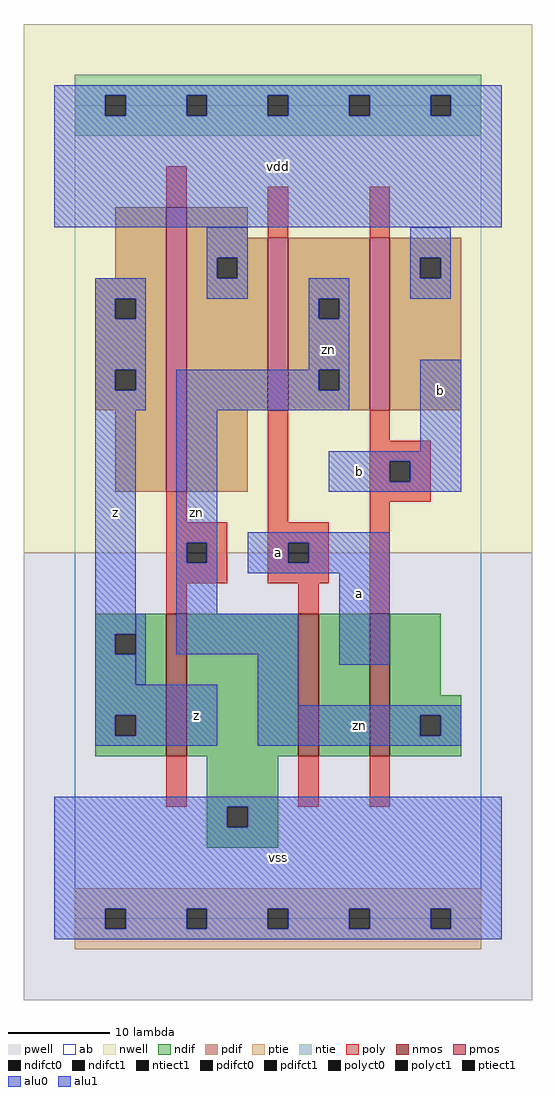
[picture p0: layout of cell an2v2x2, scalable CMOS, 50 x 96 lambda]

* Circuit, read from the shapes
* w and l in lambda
.subckt an2v2x2 a b vdd vss z zn
M1 vss zn z vss nfet w=14 l=2
M2 n1 a vss vss nfet w=14 l=2
M3 zn b n1 vss nfet w=14 l=2
M4 vdd zn z vdd pfet w=28 l=2
M5 zn a vdd vdd pfet w=17 l=2
M6 vdd b zn vdd pfet w=17 l=2
.ends

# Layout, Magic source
magic
tech scmos
<< ab >>
rect 0 0 40 80
<< nwell >>
rect -5 36 45 88
<< pwell >>
rect -5 -8 45 36
<< poly >>
rect 9 70 11 74
rect 19 67 21 72
rect 29 67 31 72
rect 9 39 11 42
rect 19 39 21 50
rect 29 47 31 50
rect 29 45 35 47
rect 29 43 31 45
rect 33 43 35 45
rect 29 41 35 43
rect 9 37 15 39
rect 9 35 11 37
rect 13 35 15 37
rect 9 33 15 35
rect 19 37 25 39
rect 19 35 21 37
rect 23 35 25 37
rect 19 33 25 35
rect 9 30 11 33
rect 22 30 24 33
rect 29 30 31 41
rect 9 11 11 16
rect 22 11 24 16
rect 29 11 31 16
<< ndif >>
rect 2 28 9 30
rect 2 26 4 28
rect 6 26 9 28
rect 2 20 9 26
rect 2 18 4 20
rect 6 18 9 20
rect 2 16 9 18
rect 11 16 22 30
rect 24 16 29 30
rect 31 22 36 30
rect 31 20 38 22
rect 31 18 34 20
rect 36 18 38 20
rect 31 16 38 18
rect 13 11 20 16
rect 13 9 15 11
rect 17 9 20 11
rect 13 7 20 9
<< pdif >>
rect 4 63 9 70
rect 2 61 9 63
rect 2 59 4 61
rect 6 59 9 61
rect 2 54 9 59
rect 2 52 4 54
rect 6 52 9 54
rect 2 50 9 52
rect 4 42 9 50
rect 11 67 17 70
rect 11 65 19 67
rect 11 63 14 65
rect 16 63 19 65
rect 11 50 19 63
rect 21 61 29 67
rect 21 59 24 61
rect 26 59 29 61
rect 21 54 29 59
rect 21 52 24 54
rect 26 52 29 54
rect 21 50 29 52
rect 31 65 38 67
rect 31 63 34 65
rect 36 63 38 65
rect 31 50 38 63
rect 11 42 17 50
<< alu1 >>
rect -2 81 42 82
rect -2 79 3 81
rect 5 79 11 81
rect 13 79 19 81
rect 21 79 27 81
rect 29 79 35 81
rect 37 79 42 81
rect -2 68 42 79
rect 2 61 7 63
rect 2 59 4 61
rect 6 59 7 61
rect 2 54 7 59
rect 2 52 4 54
rect 6 52 7 54
rect 2 50 7 52
rect 2 28 6 50
rect 34 46 38 55
rect 25 45 38 46
rect 25 43 31 45
rect 33 43 38 45
rect 25 42 38 43
rect 17 37 31 38
rect 17 35 21 37
rect 23 35 31 37
rect 17 34 31 35
rect 2 26 4 28
rect 2 23 6 26
rect 2 20 14 23
rect 2 18 4 20
rect 6 18 14 20
rect 2 17 14 18
rect 26 25 31 34
rect -2 11 42 12
rect -2 9 15 11
rect 17 9 42 11
rect -2 1 42 9
rect -2 -1 3 1
rect 5 -1 11 1
rect 13 -1 19 1
rect 21 -1 27 1
rect 29 -1 35 1
rect 37 -1 42 1
rect -2 -2 42 -1
<< ptie >>
rect 0 1 40 3
rect 0 -1 3 1
rect 5 -1 11 1
rect 13 -1 19 1
rect 21 -1 27 1
rect 29 -1 35 1
rect 37 -1 40 1
rect 0 -3 40 -1
<< ntie >>
rect 0 81 40 83
rect 0 79 3 81
rect 5 79 11 81
rect 13 79 19 81
rect 21 79 27 81
rect 29 79 35 81
rect 37 79 40 81
rect 0 77 40 79
<< nmos >>
rect 9 16 11 30
rect 22 16 24 30
rect 29 16 31 30
<< pmos >>
rect 9 42 11 70
rect 19 50 21 67
rect 29 50 31 67
<< polyct0 >>
rect 11 35 13 37
<< polyct1 >>
rect 31 43 33 45
rect 21 35 23 37
<< ndifct0 >>
rect 34 18 36 20
<< ndifct1 >>
rect 4 26 6 28
rect 4 18 6 20
rect 15 9 17 11
<< ntiect1 >>
rect 3 79 5 81
rect 11 79 13 81
rect 19 79 21 81
rect 27 79 29 81
rect 35 79 37 81
<< ptiect1 >>
rect 3 -1 5 1
rect 11 -1 13 1
rect 19 -1 21 1
rect 27 -1 29 1
rect 35 -1 37 1
<< pdifct0 >>
rect 14 63 16 65
rect 24 59 26 61
rect 24 52 26 54
rect 34 63 36 65
<< pdifct1 >>
rect 4 59 6 61
rect 4 52 6 54
<< alu0 >>
rect 13 65 17 68
rect 13 63 14 65
rect 16 63 17 65
rect 33 65 37 68
rect 33 63 34 65
rect 36 63 37 65
rect 13 61 17 63
rect 23 61 27 63
rect 33 61 37 63
rect 23 59 24 61
rect 26 59 27 61
rect 23 54 27 59
rect 10 52 24 54
rect 26 52 27 54
rect 10 50 27 52
rect 10 37 14 50
rect 10 35 11 37
rect 13 35 14 37
rect 10 30 14 35
rect 6 23 7 30
rect 10 26 22 30
rect 18 21 22 26
rect 18 20 38 21
rect 18 18 34 20
rect 36 18 38 20
rect 18 17 38 18
<< labels >>
rlabel alu0 12 40 12 40 6 zn
rlabel alu0 25 56 25 56 6 zn
rlabel alu0 28 19 28 19 6 zn
rlabel alu1 4 40 4 40 6 z
rlabel alu1 12 20 12 20 6 z
rlabel alu1 20 6 20 6 6 vss
rlabel alu1 20 36 20 36 6 a
rlabel alu1 28 32 28 32 6 a
rlabel alu1 28 44 28 44 6 b
rlabel alu1 20 74 20 74 6 vdd
rlabel alu1 36 52 36 52 6 b
<< end >>
